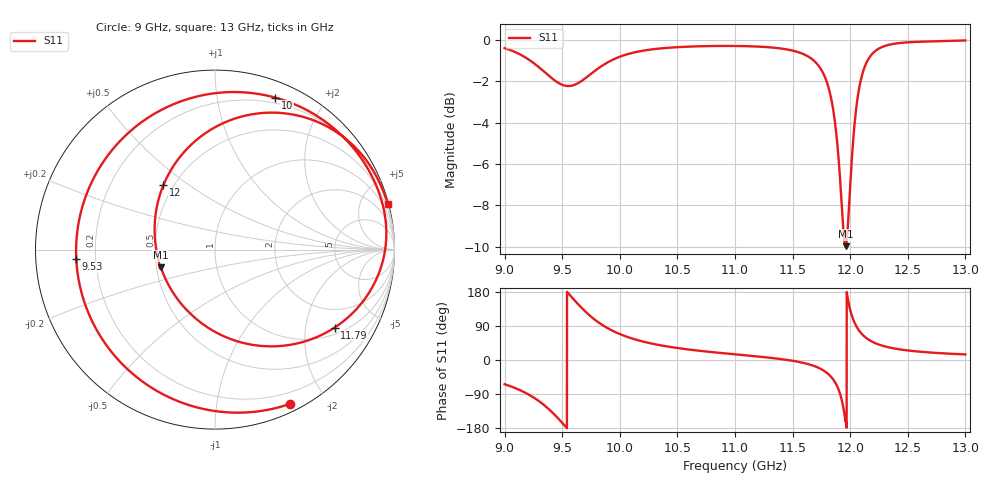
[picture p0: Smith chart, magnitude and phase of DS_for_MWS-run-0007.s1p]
! TOUCHSTONE file generated by CST DESIGN STUDIO
! Date and time: Tue Feb  4 13:53:39 2025
! Project name: C:\Work\MatlabApps\UnitCellOptimizationMatlab\CST\unitcell.cst
! Tree item: Tasks\Sweep1\SPara1\S-Parameters
! Header version: 2024
! Port assignment regex: !\s*Touchstone port\s*([0-9]+)\s*=\s*(CST MWS port|CST DES external port|CST DES block port)\s*(.+)\s* \(\"(.*)\"\)(\s*mode\s*([0-9]+))?.*
! Touchstone port assignment:
! Touchstone port 1 = CST DES external port 1 ("")
# GHz S MA R 50
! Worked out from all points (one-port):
!   4001 points, 9 GHz to 13 GHz, reference 50 ohm
!   lowest |S11| = -10.0 dB at 11.96 GHz (marker M1), VSWR 1.93, Z = 26.4 - j5.85 ohm
!   |S11| at or under -10 dB: nowhere
!   S11 on the Smith chart (normalised r, x): 9 GHz: 0.08, -1.60; 9.53 GHz: 0.13, -0.03; 10 GHz: 0.15, +1.46; 11.79 GHz: 1.23, -2.90; 12 GHz: 0.44, +0.40; 13 GHz: 0.08, +7.76
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9  0.9559 -63.9
9.168  0.9117 -84.6
9.288  0.8637 -106.4
9.392  0.816 -132.0
9.5  0.7791 -165.8
9.53  0.7748 -176.0
9.626  0.7832 151.1
9.75  0.8281 114.4
9.859  0.8708 90.3
10  0.9109 68.4
10.001  0.9112 68.3
10.215  0.9434 47.7
10.5  0.9607 31.6
11  0.9672 15.0
11.5  0.9426 -2.1
11.683  0.8922 -15.4
11.794  0.7956 -33.1
11.893  0.5417 -73.4
11.926  0.4015 -104.7
11.96  0.3173 -161.7
12  0.4444 132.3
12.003  0.4594 128.8
12.037  0.6227 99.1
12.073  0.7512 79.4
12.19  0.9248 48.4
12.311  0.9692 35.1
12.5  0.987 25.2
13  0.9973 14.7
